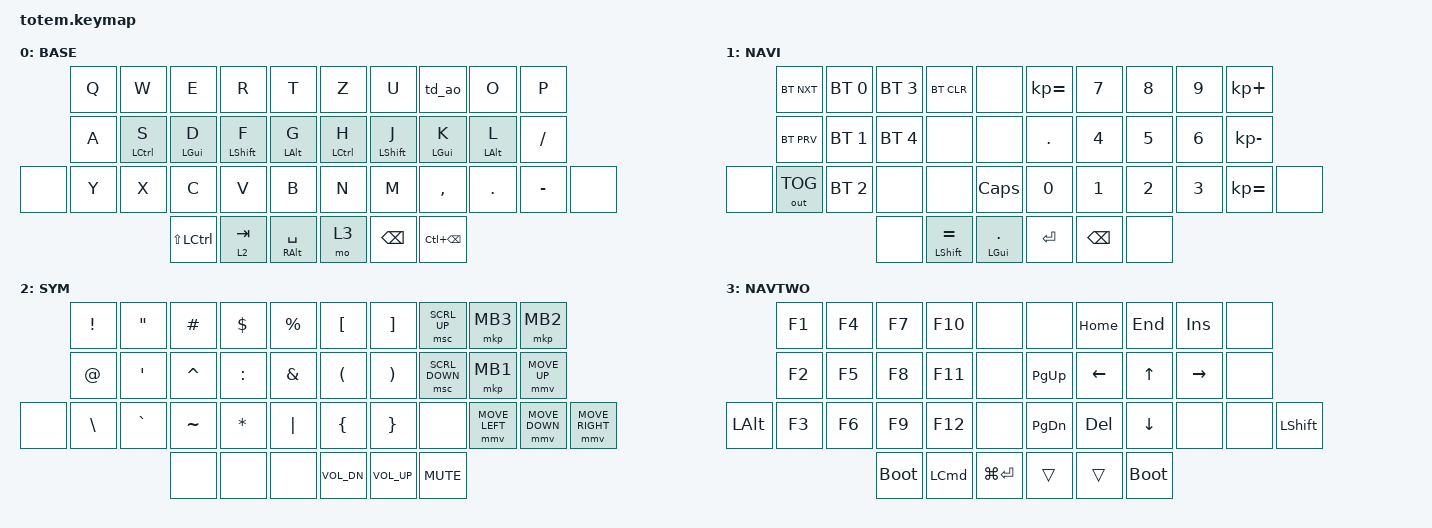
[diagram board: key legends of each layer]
//                                                        ▀▀▀▀▀     ▀▀▀▀▀          ▀▀█▀▀
//                                                        ▄▀▀▀▄  ▄  ▄▀▀▀▄  ▄  ▄▀▀▀▄  █  ▄▀▀▀▄
//                                                        █   █  █  █   █  █  █   █  █  █   █
//                                                         ▀▀▀   █   ▀▀▀   █   ▀▀▀   ▀   ▀▀▀
//                                                               █      ▄▄▄█▄▄▄    █   █  
//                                                               ▀      █  █  █     █▄█
//                                                             ▀▀▀▀▀    █  █  █      ▀
//                                                                      ▀  ▀  ▀
//
// ▄▄▄▄▄▄▄▄▄▄▄▄▄▄▄▄▄▄▄▄▄▄▄▄▄▄▄▄▄▄▄▄▄▄▄▄▄▄▄▄▄▄▄▄▄▄▄▄▄▄▄▄▄▄▄▄▄▄▄▄▄▄▄▄▄▄▄▄▄▄▄▄▄▄▄▄▄▄▄▄▄▄▄▄▄▄▄▄▄▄▄▄▄▄▄▄▄▄▄▄▄▄▄▄▄▄▄▄▄▄▄▄▄▄▄▄▄▄▄▄▄▄▄▄▄▄▄▄▄▄▄▄▄▄▄▄▄▄▄▄▄▄▄▄▄▄▄▄▄

#define ZMK_POINTING_DEFAULT_MOVE_VAL 1800  // default: 600
#define ZMK_POINTING_DEFAULT_SCRL_VAL 30    // default: 10

#include <behaviors.dtsi>
#include <dt-bindings/zmk/bt.h>
#include <dt-bindings/zmk/keys.h>
#include <dt-bindings/zmk/outputs.h>
#include <dt-bindings/zmk/pointing.h>

#define BASE 0
#define NAV  1
#define SYM  2
#define ADJ  3
#define NAVTWO 4

&mt {
    quick-tap-ms = <100>;
    require-prior-idle-ms = <150>;
    flavor = "tap-preferred";
    tapping-term-ms = <170>;
};

/ {
    behaviors {
        // --- Makros ---

        macro_0: macro0 {
            compatible = "zmk,behavior-macro";
            bindings = <&kp RA(Q)>;
            #binding-cells = <0>;
        };

        macro_1: macro1 {
            compatible = "zmk,behavior-macro";
            bindings = <&kp RA(P)>;
            #binding-cells = <0>;
        };

        macro_2: macro2 {
            compatible = "zmk,behavior-macro";
            bindings = <&kp RA(Y)>;
            #binding-cells = <0>;
        };

        macro_3: macro3 {
            compatible = "zmk,behavior-macro";
            bindings = <&kp RA(S)>;
            #binding-cells = <0>;
        };

        macae: macae {
            compatible = "zmk,behavior-macro";
            #binding-cells = <0>;
            bindings = <&kp LA(U) &kp A>;
        };

        macaeupper: macaeupper {
            compatible = "zmk,behavior-macro";
            #binding-cells = <0>;
            bindings = <&kp LA(U) &kp LS(A)>;
        };

        macue: macue {
            compatible = "zmk,behavior-macro";
            #binding-cells = <0>;
            bindings = <&kp LA(U) &kp U>;
        };

        macueupper: macueupper {
            compatible = "zmk,behavior-macro";
            #binding-cells = <0>;
            bindings = <&kp LA(U) &kp LS(U)>;
        };

        macoe: macoe {
            compatible = "zmk,behavior-macro";
            #binding-cells = <0>;
            bindings = <&kp LA(U) &kp O>;
        };

        macoeupper: macoeupper {
            compatible = "zmk,behavior-macro";
            #binding-cells = <0>;
            bindings = <&kp LA(U) &kp LS(O)>;
        };

        schwedischumlaut: schwedischumlaut {
            compatible = "zmk,behavior-macro";
            #binding-cells = <0>;
            bindings = <&kp RA(W)>;
        };

        // --- Tap Dance ---

        td_0: behavior_tap_dance0 {
            compatible = "zmk,behavior-tap-dance";
            tapping-term-ms = <190>;
            #binding-cells = <0>;
            bindings = <&kp LEFT_SHIFT>, <&kp LEFT_GUI>, <&kp LEFT_ALT>;
        };

        td_1: behavior_tap_dance1 {
            compatible = "zmk,behavior-tap-dance";
            tapping-term-ms = <120>;
            #binding-cells = <0>;
            bindings = <&kp S>, <&macro_3>;
        };

        td_2: behavior_tap_dance2 {
            compatible = "zmk,behavior-tap-dance";
            tapping-term-ms = <170>;
            bindings = <&kp A>, <&macro_0>;

            #binding-cells = <0>;
        };

        td_3: behavior_tap_dance3 {
            compatible = "zmk,behavior-tap-dance";
            tapping-term-ms = <160>;
            bindings = <&kp O>, <&macro_1>;

            #binding-cells = <0>;
        };

        td_4: behavior_tap_dance4 {
            compatible = "zmk,behavior-tap-dance";
            tapping-term-ms = <170>;
            bindings = <&kp U>, <&macro_2>;

            #binding-cells = <0>;
        };

        td_ae: td_ae {
            compatible = "zmk,behavior-tap-dance";
            #binding-cells = <0>;
            bindings = <&macae>, <&macaeupper>;
        };

        td_ue: td_ue {
            compatible = "zmk,behavior-tap-dance";
            #binding-cells = <0>;
            bindings = <&macue>, <&macueupper>;
        };

        td_oe: td_oe {
            compatible = "zmk,behavior-tap-dance";
            #binding-cells = <0>;
            bindings = <&macoe>, <&macoeupper>;
        };

        td_ao: td_ao {
            compatible = "zmk,behavior-tap-dance";
            #binding-cells = <0>;
            bindings = <&kp I>, <&schwedischumlaut>;

            tapping-term-ms = <170>;
        };
    };

    combos {
        compatible = "zmk,combos";

        combo_esc {
            timeout-ms = <50>;
            key-positions = <0 1>;
            bindings = <&kp ESC>;
            layers = <0>;
        };

        enter {
            bindings = <&kp ENTER>;
            key-positions = <16 17 18>;
        };

        semi {
            bindings = <&kp SEMI>;
            key-positions = <29 28>;
        };

        nav {
            bindings = <&mo 1>;
            key-positions = <23 24>;
        };
    };

    macros {
    };

    keymap {
        compatible = "zmk,keymap";

        // ▄▄▄▄▄▄▄▄▄▄▄▄▄▄▄▄▄▄▄▄▄▄▄▄▄▄▄▄▄▄▄▄▄▄▄▄▄▄▄▄▄▄▄▄▄▄▄▄▄▄▄▄▄▄▄▄▄▄▄▄▄▄▄▄▄▄▄▄▄▄▄▄▄▄▄▄▄▄▄▄▄▄▄▄▄▄▄▄▄▄▄▄▄▄▄▄▄▄▄▄▄▄▄▄▄▄▄▄▄▄▄▄▄▄▄▄▄▄▄▄▄▄▄▄▄▄▄▄▄▄▄▄▄▄▄▄▄▄▄▄▄▄▄▄▄▄▄▄▄

        base_layer {
            // ┏━━━━━━━━━━━━━━━━━━━━━━━━━━━━━━━━━━━━━━━┓

            label = "BASE";

            // ┗━━━━━━━━━━━━━━━━━━━━━━━━━━━━━━━━━━━━━━━┛
            //             ┏━━━━━━━━━━━┳━━━━━━━━━━━┳━━━━━━━━━━━┳━━━━━━━━━━━┳━━━━━━━━━━━┓   ┏━━━━━━━━━━━┳━━━━━━━━━━━┳━━━━━━━━━━━┳━━━━━━━━━━━┳━━━━━━━━━━━┓
            //             ┃     Q     ┃     W     ┃     E     ┃     R     ┃     T     ┃   ┃     Z     ┃   &td_4   ┃     I     ┃   &td_3   ┃     P     ┃
            //             ┣━━━━━━━━━━━╋━━━━━━━━━━━╋━━━━━━━━━━━╋━━━━━━━━━━━╋━━━━━━━━━━━┫   ┣━━━━━━━━━━━╋━━━━━━━━━━━╋━━━━━━━━━━━╋━━━━━━━━━━━╋━━━━━━━━━━━┫
            //             ┃   &td_2   ┃   &td_1   ┃     D     ┃ (F, LSFT) ┃ (G, LALT) ┃   ┃ (H, LALT) ┃ (J, LSFT) ┃     K     ┃     L     ┃   SEMI    ┃
            // ┏━━━━━━━━━━━╋━━━━━━━━━━━╋━━━━━━━━━━━╋━━━━━━━━━━━╋━━━━━━━━━━━╋━━━━━━━━━━━┫   ┣━━━━━━━━━━━╋━━━━━━━━━━━╋━━━━━━━━━━━╋━━━━━━━━━━━╋━━━━━━━━━━━╋━━━━━━━━━━━┓
            // ┃   &td_0   ┃     Y     ┃     X     ┃     C     ┃     V     ┃     B     ┃   ┃     N     ┃     M     ┃   COMMA   ┃    DOT    ┃   MINUS   ┃   SLASH   ┃
            // ┗━━━━━━━━━━━┻━━━━━━━━━━━┻━━━━━━━━━━━╋━━━━━━━━━━━╋━━━━━━━━━━━╋━━━━━━━━━━━┫   ┣━━━━━━━━━━━╋━━━━━━━━━━━╋━━━━━━━━━━━╋━━━━━━━━━━━┻━━━━━━━━━━━┻━━━━━━━━━━━┛
            //                                     ┃ L_CONTROL ┃ (2, TAB)  ┃ (3,SPACE) ┃   ┃   MO(4)   ┃   &td_5   ┃   MO(1)   ┃
            //                                     ┗━━━━━━━━━━━┻━━━━━━━━━━━┻━━━━━━━━━━━┛   ┗━━━━━━━━━━━┻━━━━━━━━━━━┻━━━━━━━━━━━┛

            bindings = <
       &kp Q  &kp W        &kp E                 &kp R        &kp T                  &kp Z               &kp U          &td_ao             &kp O           &kp P
       &kp A  &mt LCTRL S  &mt LGUI D            &mt LSHFT F  &mt LEFT_ALT G         &mt LEFT_CONTROL H  &mt LSHIFT J   &mt LGUI K         &mt LEFT_ALT L  &kp SLASH
&none  &kp Y  &kp X        &kp C                 &kp V        &kp B                  &kp N               &kp M          &kp COMMA          &kp DOT         &kp MINUS  &none
                           &kp LS(LEFT_CONTROL)  &lt 2 TAB    &mt RIGHT_ALT SPACE    &mo 3               &kp BACKSPACE  &kp LC(BACKSPACE)
            >;
        };

        // ▄▄▄▄▄▄▄▄▄▄▄▄▄▄▄▄▄▄▄▄▄▄▄▄▄▄▄▄▄▄▄▄▄▄▄▄▄▄▄▄▄▄▄▄▄▄▄▄▄▄▄▄▄▄▄▄▄▄▄▄▄▄▄▄▄▄▄▄▄▄▄▄▄▄▄▄▄▄▄▄▄▄▄▄▄▄▄▄▄▄▄▄▄▄▄▄▄▄▄▄▄▄▄▄▄▄▄▄▄▄▄▄▄▄▄▄▄▄▄▄▄▄▄▄▄▄▄▄▄▄▄▄▄▄▄▄▄▄▄▄▄▄▄▄▄▄▄▄▄

        nav_layer {
            // ┏━━━━━━━━━━━━━━━━━━━━━━━━━━━━━━━━━━━━━━━┓

            label = "NAVI";

            // ┗━━━━━━━━━━━━━━━━━━━━━━━━━━━━━━━━━━━━━━━┛
            //             ┏━━━━━━━━━━━┳━━━━━━━━━━━┳━━━━━━━━━━━┳━━━━━━━━━━━┳━━━━━━━━━━━┓   ┏━━━━━━━━━━━┳━━━━━━━━━━━┳━━━━━━━━━━━┳━━━━━━━━━━━┳━━━━━━━━━━━┓
            //             ┃ BT_NXT    ┃ BT_SEL 0  ┃ BT_SEL 3  ┃  NONE     ┃ HOME      ┃   ┃  PG_UP    ┃ N7        ┃ N8        ┃ N9        ┃   PLUS    ┃
            //             ┣━━━━━━━━━━━╋━━━━━━━━━━━╋━━━━━━━━━━━╋━━━━━━━━━━━╋━━━━━━━━━━━┫   ┣━━━━━━━━━━━╋━━━━━━━━━━━╋━━━━━━━━━━━╋━━━━━━━━━━━╋━━━━━━━━━━━┫
            //             ┃ BT_PRV    ┃ BT_SEL 1  ┃ BT_SEL 4  ┃  NONE     ┃ END       ┃   ┃  PG_DN    ┃ N4        ┃ N5        ┃ N6        ┃   MINUS   ┃
            // ┏━━━━━━━━━━━╋━━━━━━━━━━━╋━━━━━━━━━━━╋━━━━━━━━━━━╋━━━━━━━━━━━╋━━━━━━━━━━━┫   ┣━━━━━━━━━━━╋━━━━━━━━━━━╋━━━━━━━━━━━╋━━━━━━━━━━━╋━━━━━━━━━━━╋━━━━━━━━━━━┓
            // ┃ BT_CLR    ┃ NONE      ┃ BT_SEL 2  ┃ NONE      ┃ NONE      ┃ CAPS      ┃   ┃    N0     ┃ N1        ┃ N2        ┃ N3        ┃   PERIOD  ┃   EQUAL   ┃
            // ┗━━━━━━━━━━━┻━━━━━━━━━━━┻━━━━━━━━━━━╋━━━━━━━━━━━╋━━━━━━━━━━━╋━━━━━━━━━━━┫   ┣━━━━━━━━━━━╋━━━━━━━━━━━╋━━━━━━━━━━━╋━━━━━━━━━━━┻━━━━━━━━━━━┻━━━━━━━━━━━┛
            //                                     ┃ LSHFT     ┃ LEFT_GUI  ┃ LA(ENTER) ┃   ┃   ENTER   ┃ BACKSPACE ┃ NONE      ┃
            //                                     ┗━━━━━━━━━━━┻━━━━━━━━━━━┻━━━━━━━━━━━┛   ┗━━━━━━━━━━━┻━━━━━━━━━━━┻━━━━━━━━━━━┛

            bindings = <
       &bt BT_NXT    &bt BT_SEL 0  &bt BT_SEL 3  &bt BT_CLR            &none                  &kp KP_EQUAL  &kp N7         &kp N8  &kp N9  &kp KP_PLUS
       &bt BT_PRV    &bt BT_SEL 1  &bt BT_SEL 4  &none                 &none                  &kp PERIOD    &kp N4         &kp N5  &kp N6  &kp KP_MINUS
&none  &out OUT_TOG  &bt BT_SEL 2  &none         &none                 &kp CAPS               &kp N0        &kp N1         &kp N2  &kp N3  &kp KP_EQUAL  &none
                                   &none         &mt LEFT_SHIFT EQUAL  &mt LEFT_GUI PERIOD    &kp ENTER     &kp BACKSPACE  &none
            >;
        };

        // ▄▄▄▄▄▄▄▄▄▄▄▄▄▄▄▄▄▄▄▄▄▄▄▄▄▄▄▄▄▄▄▄▄▄▄▄▄▄▄▄▄▄▄▄▄▄▄▄▄▄▄▄▄▄▄▄▄▄▄▄▄▄▄▄▄▄▄▄▄▄▄▄▄▄▄▄▄▄▄▄▄▄▄▄▄▄▄▄▄▄▄▄▄▄▄▄▄▄▄▄▄▄▄▄▄▄▄▄▄▄▄▄▄▄▄▄▄▄▄▄▄▄▄▄▄▄▄▄▄▄▄▄▄▄▄▄▄▄▄▄▄▄▄▄▄▄▄▄▄

        sim_layer {
            // ┏━━━━━━━━━━━━━━━━━━━━━━━━━━━━━━━━━━━━━━━┓

            label = "SYM";

            // ┗━━━━━━━━━━━━━━━━━━━━━━━━━━━━━━━━━━━━━━━┛
            //             ┏━━━━━━━━━━━┳━━━━━━━━━━━┳━━━━━━━━━━━┳━━━━━━━━━━━┳━━━━━━━━━━━┓   ┏━━━━━━━━━━━┳━━━━━━━━━━━┳━━━━━━━━━━━┳━━━━━━━━━━━┳━━━━━━━━━━━┓
            //             ┃   EXCL    ┃     "     ┃   HASH    ┃   DLLR    ┃   PRCNT   ┃   ┃   LBKT    ┃   RBKT    ┃  SCRL_UP  ┃   MB3     ┃   MB2     ┃
            //             ┣━━━━━━━━━━━╋━━━━━━━━━━━╋━━━━━━━━━━━╋━━━━━━━━━━━╋━━━━━━━━━━━┫   ┣━━━━━━━━━━━╋━━━━━━━━━━━╋━━━━━━━━━━━╋━━━━━━━━━━━╋━━━━━━━━━━━┫
            //             ┃    AT     ┃     '     ┃  CARET    ┃  COLON    ┃   AMPS    ┃   ┃   LPAR    ┃   RPAR    ┃  SCRL_DN  ┃   MB1     ┃ MOVE_UP   ┃
            // ┏━━━━━━━━━━━╋━━━━━━━━━━━╋━━━━━━━━━━━╋━━━━━━━━━━━╋━━━━━━━━━━━╋━━━━━━━━━━━┫   ┣━━━━━━━━━━━╋━━━━━━━━━━━╋━━━━━━━━━━━╋━━━━━━━━━━━╋━━━━━━━━━━━╋━━━━━━━━━━━┓
            // ┃   NONE    ┃  BSLASH   ┃  GRAVE    ┃  TILDE    ┃   STAR    ┃   PIPE    ┃   ┃  LBRACE   ┃  RBRACE   ┃           ┃ MOVE_LEFT ┃ MOVE_DOWN ┃ MOVE_RIGHT┃
            // ┗━━━━━━━━━━━┻━━━━━━━━━━━┻━━━━━━━━━━━╋━━━━━━━━━━━╋━━━━━━━━━━━╋━━━━━━━━━━━┫   ┣━━━━━━━━━━━╋━━━━━━━━━━━╋━━━━━━━━━━━╋━━━━━━━━━━━┻━━━━━━━━━━━┻━━━━━━━━━━━┛
            //                                     ┃   NONE    ┃  NONE     ┃   TO(3)   ┃   ┃   NONE    ┃   NONE    ┃   TO(3)   ┃
            //                                     ┗━━━━━━━━━━━┻━━━━━━━━━━━┻━━━━━━━━━━━┛   ┗━━━━━━━━━━━┻━━━━━━━━━━━┻━━━━━━━━━━━┛

            bindings = <
       &kp EXCL       &kp DOUBLE_QUOTES  &kp HASH   &kp DLLR   &kp PRCNT    &kp LBKT        &kp RBKT         &msc SCRL_UP    &mkp MB3        &mkp MB2
       &kp AT         &kp SINGLE_QUOTE   &kp CARET  &kp COLON  &kp AMPS     &kp LPAR        &kp RPAR         &msc SCRL_DOWN  &mkp MB1        &mmv MOVE_UP
&none  &kp BACKSLASH  &kp GRAVE          &kp TILDE  &kp STAR   &kp PIPE     &kp LEFT_BRACE  &kp RIGHT_BRACE  &none           &mmv MOVE_LEFT  &mmv MOVE_DOWN  &mmv MOVE_RIGHT
                                         &none      &none      &none        &kp C_VOL_DN    &kp C_VOLUME_UP  &kp C_MUTE
            >;
        };

        // ▄▄▄▄▄▄▄▄▄▄▄▄▄▄▄▄▄▄▄▄▄▄▄▄▄▄▄▄▄▄▄▄▄▄▄▄▄▄▄▄▄▄▄▄▄▄▄▄▄▄▄▄▄▄▄▄▄▄▄▄▄▄▄▄▄▄▄▄▄▄▄▄▄▄▄▄▄▄▄▄▄▄▄▄▄▄▄▄▄▄▄▄▄▄▄▄▄▄▄▄▄▄▄▄▄▄▄▄▄▄▄▄▄▄▄▄▄▄▄▄▄▄▄▄▄▄▄▄▄▄▄▄▄▄▄▄▄▄▄▄▄▄▄▄▄▄▄▄▄

        navtwo {
            // ┏━━━━━━━━━━━━━━━━━━━━━━━━━━━━━━━━━━━━━━━┓

            label = "NAVTWO";

            // ┗━━━━━━━━━━━━━━━━━━━━━━━━━━━━━━━━━━━━━━━┛
            //             ┏━━━━━━━━━━━┳━━━━━━━━━━━┳━━━━━━━━━━━┳━━━━━━━━━━━┳━━━━━━━━━━━┓   ┏━━━━━━━━━━━┳━━━━━━━━━━━┳━━━━━━━━━━━┳━━━━━━━━━━━┳━━━━━━━━━━━┓
            //             ┃    F1     ┃    F4     ┃    F7     ┃   F10     ┃   NONE    ┃   ┃   NONE    ┃   NONE    ┃   NONE    ┃   NONE    ┃   NONE    ┃
            //             ┣━━━━━━━━━━━╋━━━━━━━━━━━╋━━━━━━━━━━━╋━━━━━━━━━━━╋━━━━━━━━━━━┫   ┣━━━━━━━━━━━╋━━━━━━━━━━━╋━━━━━━━━━━━╋━━━━━━━━━━━╋━━━━━━━━━━━┫
            //             ┃    F2     ┃    F5     ┃    F8     ┃   F11     ┃   NONE    ┃   ┃   NONE    ┃   LEFT    ┃   UP      ┃  RIGHT    ┃   NONE    ┃
            // ┏━━━━━━━━━━━╋━━━━━━━━━━━╋━━━━━━━━━━━╋━━━━━━━━━━━╋━━━━━━━━━━━╋━━━━━━━━━━━┫   ┣━━━━━━━━━━━╋━━━━━━━━━━━╋━━━━━━━━━━━╋━━━━━━━━━━━╋━━━━━━━━━━━╋━━━━━━━━━━━┓
            // ┃  LEFT_ALT ┃    F3     ┃    F6     ┃    F9     ┃   F12     ┃   NONE    ┃   ┃   NONE    ┃   DEL     ┃  DOWN     ┃   NONE    ┃   NONE    ┃   LSHFT   ┃
            // ┗━━━━━━━━━━━┻━━━━━━━━━━━┻━━━━━━━━━━━╋━━━━━━━━━━━╋━━━━━━━━━━━╋━━━━━━━━━━━┫   ┣━━━━━━━━━━━╋━━━━━━━━━━━╋━━━━━━━━━━━╋━━━━━━━━━━━┻━━━━━━━━━━━┻━━━━━━━━━━━┛
            //                                     ┃   NONE    ┃   LCMD    ┃ LG(ENTER) ┃   ┃   TRANS   ┃   TRANS   ┃  TRANS    ┃
            //                                     ┗━━━━━━━━━━━┻━━━━━━━━━━━┻━━━━━━━━━━━┛   ┗━━━━━━━━━━━┻━━━━━━━━━━━┻━━━━━━━━━━━┛

            bindings = <
              &kp F1  &kp F4  &kp F7       &kp F10   &none            &none      &kp HOME  &kp END         &kp INS    &none
              &kp F2  &kp F5  &kp F8       &kp F11   &none            &kp PG_UP  &kp LEFT  &kp UP_ARROW    &kp RIGHT  &none
&kp LEFT_ALT  &kp F3  &kp F6  &kp F9       &kp F12   &none            &kp PG_DN  &kp DEL   &kp DOWN_ARROW  &none      &none  &kp LEFT_SHIFT
                              &bootloader  &kp LCMD  &kp LG(ENTER)    &trans     &trans    &bootloader
            >;
        };
    };
};
